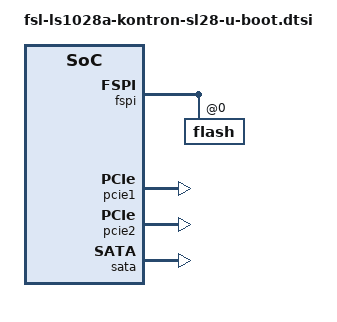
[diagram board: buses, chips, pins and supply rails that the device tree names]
// SPDX-License-Identifier: GPL-2.0+

#include <config.h>

/ {
	aliases {
		i2c0 = &i2c0;
		i2c1 = &i2c3;
		i2c2 = &i2c4;
		ethernet2 = &enetc_port2;
		ethernet3 = &enetc_port3;
	};

	binman: binman {
		multiple-images;
	};
};

&binman {
	u_boot_rom: u-boot-rom {
		filename = "u-boot.rom";
		pad-byte = <0xff>;

		u-boot-spl {
		};

		fit {
			offset = <CONFIG_SPL_PAD_TO>;
			description = "FIT image with multiple configurations";

			images {
				uboot {
					description = "U-Boot";
					type = "firmware";
					os = "u-boot";
					arch = "arm";
					compression = "none";
					load = <CONFIG_SYS_TEXT_BASE>;

					u-boot-nodtb {
					};
				};

				fdt-1 {
					description = "fsl-ls1028a-kontron-sl28";
					type = "flat_dt";
					arch = "arm";
					compression = "none";

					blob {
						filename = "arch/arm/dts/fsl-ls1028a-kontron-sl28.dtb";
					};
				};

				fdt-2 {
					description = "fsl-ls1028a-kontron-sl28-var1";
					type = "flat_dt";
					arch = "arm";
					compression = "none";

					blob {
						filename = "arch/arm/dts/fsl-ls1028a-kontron-sl28-var1.dtb";
					};
				};

				fdt-3 {
					description = "fsl-ls1028a-kontron-sl28-var2";
					type = "flat_dt";
					arch = "arm";
					compression = "none";

					blob {
						filename = "arch/arm/dts/fsl-ls1028a-kontron-sl28-var2.dtb";
					};
				};

				fdt-4 {
					description = "fsl-ls1028a-kontron-sl28-var3";
					type = "flat_dt";
					arch = "arm";
					compression = "none";

					blob {
						filename = "arch/arm/dts/fsl-ls1028a-kontron-sl28-var3.dtb";
					};
				};

				fdt-5 {
					description = "fsl-ls1028a-kontron-sl28-var4";
					type = "flat_dt";
					arch = "arm";
					compression = "none";

					blob {
						filename = "arch/arm/dts/fsl-ls1028a-kontron-sl28-var4.dtb";
					};
				};
			};

			configurations {
				default = "conf-1";

				conf-1 {
					description = "fsl-ls1028a-kontron-sl28";
					firmware = "uboot";
					fdt = "fdt-1";
				};

				conf-2 {
					description = "fsl-ls1028a-kontron-sl28-var1";
					firmware = "uboot";
					fdt = "fdt-2";
				};

				conf-3 {
					description = "fsl-ls1028a-kontron-sl28-var2";
					firmware = "uboot";
					fdt = "fdt-3";
				};

				conf-4 {
					description = "fsl-ls1028a-kontron-sl28-var3";
					firmware = "uboot";
					loadables = "uboot";
					fdt = "fdt-4";
				};

				conf-5 {
					description = "fsl-ls1028a-kontron-sl28-var4";
					firmware = "uboot";
					loadables = "uboot";
					fdt = "fdt-5";
				};
			};
		};
	};
};

&binman {
	u-boot-update {
		filename = "u-boot.update";

		fit {
			description = "FIT update image";

			images {
				u-boot-bin {
					description = "U-Boot";
					type = "firmware";
					os = "u-boot";
					arch = "arm";
					compression = "none";
					load = <0>; /* unused */

					blob {
						filename = "u-boot.rom";
					};
				};
			};
		};
	};
};

#ifdef CONFIG_SL28_ENABLE_SER0_CONSOLE
/ {
	chosen {
		stdout-path = "serial2:115200n8";
	};
};
#endif

#ifdef CONFIG_SL28_SPL_LOADS_ATF_BL31
&u_boot_rom {
	fit {
		images {
			bl31 {
				description = "ARM Trusted Firmware (bl31)";
				type = "firmware";
				arch = "arm";
				os = "arm-trusted-firmware";
				compression = "none";
				load = <CONFIG_SL28_BL31_ENTRY_ADDR>;
				entry = <CONFIG_SL28_BL31_ENTRY_ADDR>;

				blob-ext {
					filename = "bl31.bin";
				};
			};
		};

		configurations {
			conf-1 {
				firmware = "bl31";
				loadables = "uboot";
			};

			conf-2 {
				firmware = "bl31";
				loadables = "uboot";
			};

			conf-3 {
				firmware = "bl31";
				loadables = "uboot";
			};

			conf-4 {
				firmware = "bl31";
				loadables = "uboot";
			};

			conf-5 {
				firmware = "bl31";
				loadables = "uboot";
			};
		};
	};
};
#endif

#ifdef CONFIG_SL28_SPL_LOADS_OPTEE_BL32
&u_boot_rom {
	fit {
		images {
			bl32 {
				description = "OP-TEE Trusted OS (bl32)";
				type = "firmware";
				arch = "arm";
				os = "tee";
				compression = "none";
				load = <CONFIG_SL28_BL32_ENTRY_ADDR>;
				entry = <CONFIG_SL28_BL32_ENTRY_ADDR>;

				blob-ext {
					filename = "tee.bin";
				};
			};
		};

		configurations {
			conf-1 {
				loadables = "uboot", "bl32";
			};

			conf-2 {
				loadables = "uboot", "bl32";
			};

			conf-3 {
				loadables = "uboot", "bl32";
			};

			conf-4 {
				loadables = "uboot", "bl32";
			};

			conf-5 {
				loadables = "uboot", "bl32";
			};
		};
	};
};
#endif

&fspi {
	u-boot,dm-pre-reloc;
	flash@0 {
		u-boot,dm-pre-reloc;
	};
};

&dspi2 {
	u-boot,dm-pre-reloc;
};

&esdhc {
	u-boot,dm-pre-reloc;
};

&esdhc1 {
	u-boot,dm-pre-reloc;
};

&lpuart1 {
	u-boot,dm-pre-reloc;
};

&duart0 {
	u-boot,dm-pre-reloc;
};

/*
 * u-boot will enable the device in the linux device tree in place. Because
 * we are using the linux device tree, we have to enable the PCI controller
 * ourselves.
 */
&pcie1 {
	status = "okay";
};

&pcie2 {
	status = "okay";
};

&sata {
	status = "okay";
};

&soc {
	u-boot,dm-pre-reloc;
};

&sysclk {
	u-boot,dm-pre-reloc;
};
